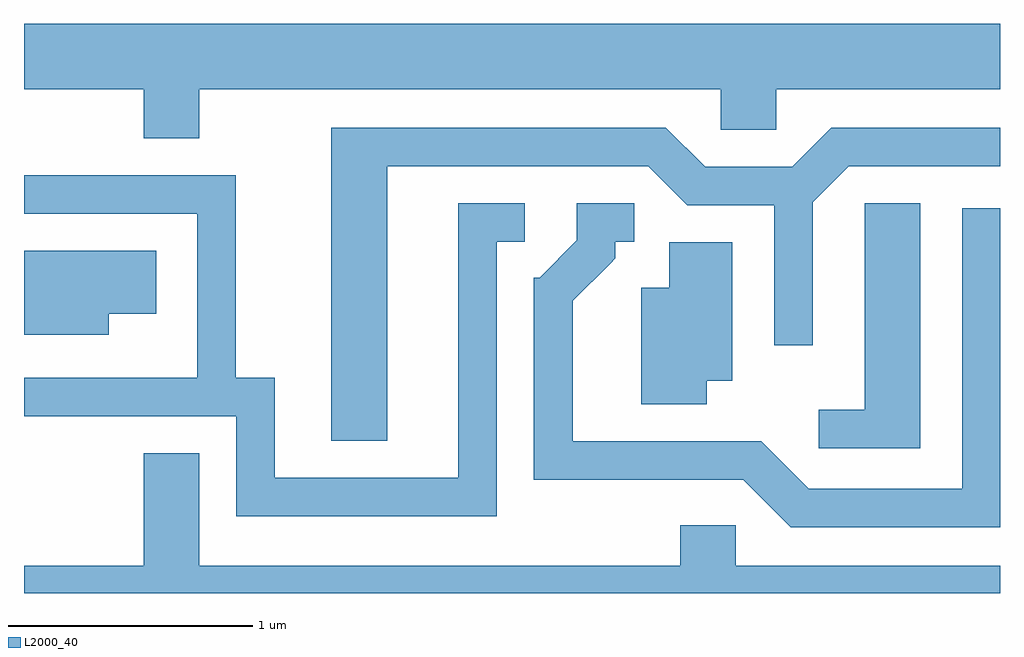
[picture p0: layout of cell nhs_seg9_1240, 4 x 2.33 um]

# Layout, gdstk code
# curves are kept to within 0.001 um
import gdstk
lib = gdstk.Library(unit=1e-6, precision=1e-09)
def P(c, l, *ps):  # polygons
    for p in ps: c.add(gdstk.Polygon(p, *l))
L2000_40 = (2000, 40)

nhs_seg9_1240 = lib.new_cell('nhs_seg9_1240')
P(nhs_seg9_1240, L2000_40, [(222.329,1978.496),(224.466,1978.496),(224.466,1978.331),(224.694,1978.331),(224.694,1978.496),(225.611,1978.496),(225.611,1978.764),(221.611,1978.764),(221.611,1978.496),(222.101,1978.496),(222.101,1978.296),(222.329,1978.296)],
  [(223.099,1978.181),(224.169,1978.181),(224.329,1978.021),(224.686,1978.021),(224.686,1977.448),(224.844,1977.448),(224.844,1978.034),(224.992,1978.181),(225.611,1978.181),(225.611,1978.339),(224.919,1978.339),(224.759,1978.179),(224.402,1978.179),(224.242,1978.339),(222.871,1978.339),(222.871,1977.056),(223.099,1977.056)],
  [(223.549,1977.871),(223.663,1977.871),(223.663,1978.029),(223.391,1978.029),(223.391,1976.904),(222.639,1976.904),(222.639,1977.314),(222.479,1977.314),(222.479,1978.144),(221.611,1978.144),(221.611,1977.986),(222.321,1977.986),(222.321,1977.314),(221.611,1977.314),(221.611,1977.156),(222.481,1977.156),(222.481,1976.746),(223.549,1976.746)],
  [(225.284,1978.029),(225.056,1978.029),(225.056,1977.184),(224.868,1977.184),(224.868,1977.026),(225.284,1977.026)],
  [(225.611,1978.009),(225.456,1978.009),(225.456,1976.859),(224.827,1976.859),(224.632,1977.054),(223.859,1977.054),(223.859,1977.629),(224.034,1977.804),(224.034,1977.871),(224.113,1977.871),(224.113,1978.029),(223.876,1978.029),(223.876,1977.877),(223.724,1977.724),(223.701,1977.724),(223.701,1976.896),(224.559,1976.896),(224.754,1976.701),(225.611,1976.701)],
  [(224.409,1977.301),(224.514,1977.301),(224.514,1977.869),(224.256,1977.869),(224.256,1977.684),(224.141,1977.684),(224.141,1977.206),(224.409,1977.206)],
  [(221.959,1977.576),(222.154,1977.576),(222.154,1977.834),(221.611,1977.834),(221.611,1977.491),(221.959,1977.491)],
  [(225.611,1976.544),(224.529,1976.544),(224.529,1976.709),(224.301,1976.709),(224.301,1976.544),(222.329,1976.544),(222.329,1977.004),(222.101,1977.004),(222.101,1976.544),(221.611,1976.544),(221.611,1976.432),(225.611,1976.432)])

lib.write_gds('nhs_seg9_1240.gds')
